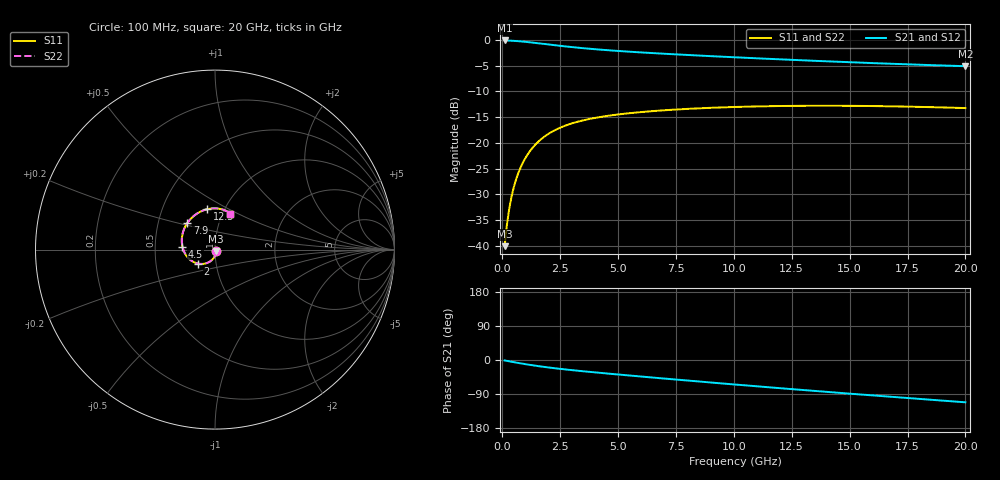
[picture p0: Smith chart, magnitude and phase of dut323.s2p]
! Touchstone file exported from HFSS 2024.1.0
!  File:  C:/UserFiles/LocalFiles/RDL_TSV_Batchsim/temp_RDL_TSV_323_1779629973.aedt
!  Generated:  09:54:22 PM May 24, 2026
!  Design:  RDL_TSV
!  Project:  temp_RDL_TSV_323_1779629973
!  Setup:  Setup1
!  Solution:  Sweep
! Variables:
!  dtsv = 12.06um
!  hbump = 3um
!  htsv = 77.82um
!  ldown = 176.55um
!  lrdl = 196.22um
!  p = 40
!  p1 = 40.04um
!  rhole = 10um
!  subl = 1314.53um
!  t = 450um
!  tdown = 4.74um
!  trdl = 2.38um
!  viad = 10um
!  wdown = 27.03um
!  wrdl = 28.06um
!  xbump = 18um
# GHz S MA R 50.000000
! Terminal data exported
! Port[1] = TM1_1_T1
! Port[2] = TM1_4_T1
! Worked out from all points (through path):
!   200 points, 100 MHz to 20 GHz, reference 50 ohm
!   highest |S21| = -0.06 dB at 100 MHz (marker M1); lowest = -5.1 dB at 20 GHz (marker M2)
!   group delay of S21, straight-line fit = 14.5 ps
!   lowest |S11| = -40.1 dB at 100 MHz (marker M3), VSWR 1.02, Z = 50.7 - j0.747 ohm
!   |S11| at or under -10 dB: start of sweep to end of sweep
!   |S22| runs from -40.1 to -12.8 dB; largest |S21 - S12| = 1.6e-14
!   S11 on the Smith chart (normalised r, x): 100 MHz: 1.01, -0.01; 2 GHz: 0.82, -0.13; 4.5 GHz: 0.69, +0.02; 7.9 GHz: 0.70, +0.22; 12.5 GHz: 0.83, +0.39; 20 GHz: 1.09, +0.46
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0.1  0.009868 -48.3  0.9927 -1.2  0.9927 -1.2  0.009868 -48.3
! Gamma 0 0 0 0
! Port Impedance 50 0 50 0
0.2  0.01598 -68.8  0.9913 -2.4  0.9913 -2.4  0.01598 -68.8
0.3  0.0229 -79.4  0.9892 -3.5  0.9892 -3.5  0.0229 -79.4
0.4  0.03008 -86.6  0.9866 -4.7  0.9866 -4.7  0.03008 -86.6
0.5  0.03729 -92.2  0.9836 -5.8  0.9836 -5.8  0.03729 -92.2
0.6  0.04442 -97.1  0.9802 -6.9  0.9802 -6.9  0.04442 -97.1
0.7  0.05141 -101.4  0.9763 -7.9  0.9763 -7.9  0.05141 -101.4
0.9  0.06486 -109.0  0.9675 -10.0  0.9675 -10.0  0.06486 -109.0
1.2  0.08341 -119.0  0.9522 -13.0  0.9522 -13.0  0.08341 -119.0
1.6  0.1049 -130.5  0.9296 -16.6  0.9296 -16.6  0.1049 -130.5
2  0.1227 -140.6  0.9067 -19.8  0.9067 -19.8  0.1227 -140.6
2.7  0.1465 -155.7  0.8697 -24.8  0.8697 -24.8  0.1466 -155.7
3.5  0.1658 -170.2  0.8344 -29.8  0.8344 -29.8  0.1658 -170.2
4.5  0.1825 174.7  0.7993 -35.5  0.7993 -35.5  0.1825 174.7
5.6  0.1956 160.6  0.7687 -41.5  0.7687 -41.5  0.1956 160.6
6.8  0.2061 147.2  0.7409 -47.9  0.7409 -47.9  0.2062 147.2
7.9  0.2136 136.4  0.7186 -53.7  0.7186 -53.7  0.2137 136.4
10.1  0.2237 117.8  0.6796 -65.0  0.6796 -65.0  0.2239 117.7
12.5  0.229 101.2  0.6427 -76.9  0.6427 -76.9  0.2292 101.1
13.4  0.2297 95.8  0.6301 -81.2  0.6301 -81.2  0.2299 95.7
16.7  0.227 79.2  0.5897 -96.7  0.5897 -96.7  0.2273 79.1
20  0.218 67.0  0.5576 -111.6  0.5576 -111.6  0.2184 67.0
